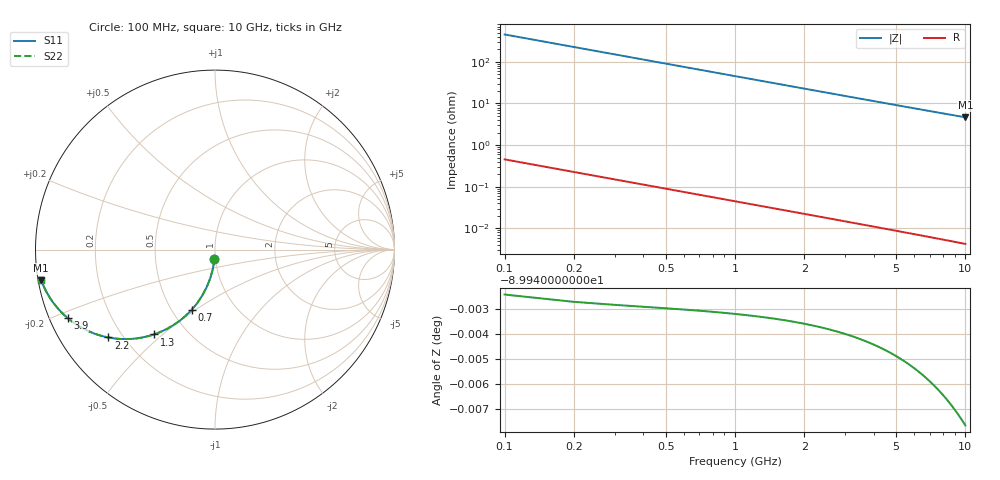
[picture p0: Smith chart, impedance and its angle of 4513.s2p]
# Hz S RI R 50.00
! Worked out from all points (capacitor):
!   100 points, 100 MHz to 10 GHz, reference 50 ohm
!   read as one part in shunt: C = 3.51 pF near 100 MHz
!   lowest |Z| = 4.65 ohm at 10 GHz (marker M1)
!   S11 on the Smith chart (normalised r, x): 100 MHz: 0.99, -0.11; 700 MHz: 0.63, -0.48; 1.3 GHz: 0.33, -0.47; 2.2 GHz: 0.15, -0.35; 3.9 GHz: 0.05, -0.22; 10 GHz: 0.01, -0.09
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1e8  -0.00307 -0.0549  0.9969 -0.055  0.9969 -0.055  -0.00307 -0.0549
2e8  -0.0121 -0.1089  0.9879 -0.109  0.9879 -0.109  -0.0121 -0.1089
3e8  -0.0268 -0.1608  0.9732 -0.1611  0.9732 -0.1611  -0.0268 -0.1608
4e8  -0.0466 -0.2101  0.9534 -0.2104  0.9534 -0.2104  -0.0466 -0.2101
5e8  -0.0708 -0.2559  0.9291 -0.2563  0.9291 -0.2563  -0.0708 -0.2559
6e8  -0.0989 -0.2978  0.9011 -0.2983  0.9011 -0.2983  -0.0989 -0.2978
7e8  -0.1299 -0.3354  0.8701 -0.336  0.8701 -0.336  -0.1299 -0.3354
8e8  -0.1631 -0.3686  0.8369 -0.3693  0.8369 -0.3693  -0.1631 -0.3686
1e9  -0.2332 -0.422  0.7667 -0.4228  0.7667 -0.4228  -0.2332 -0.422
1.3e9  -0.3393 -0.4724  0.6606 -0.4735  0.6606 -0.4735  -0.3393 -0.4724
1.5e9  -0.406 -0.4899  0.594 -0.4912  0.594 -0.4912  -0.406 -0.4899
1.8e9  -0.4958 -0.4987  0.5042 -0.5002  0.5042 -0.5002  -0.4958 -0.4987
2.2e9  -0.5947 -0.4895  0.4053 -0.4914  0.4053 -0.4914  -0.5947 -0.4895
2.5e9  -0.6544 -0.474  0.3456 -0.4761  0.3456 -0.4761  -0.6544 -0.474
2.8e9  -0.7035 -0.455  0.2964 -0.4574  0.2964 -0.4574  -0.7035 -0.455
3.4e9  -0.7775 -0.414  0.2225 -0.4169  0.2225 -0.4169  -0.7775 -0.414
3.9e9  -0.8212 -0.381  0.1788 -0.3843  0.1788 -0.3843  -0.8212 -0.381
4.5e9  -0.8593 -0.3453  0.1407 -0.3491  0.1407 -0.3491  -0.8593 -0.3453
5.1e9  -0.8868 -0.3141  0.1131 -0.3185  0.1131 -0.3185  -0.8868 -0.3141
6.7e9  -0.931 -0.25  0.0689 -0.2557  0.0689 -0.2557  -0.931 -0.25
8.4e9  -0.955 -0.2032  0.045 -0.2105  0.045 -0.2105  -0.955 -0.2032
1e10  -0.9678 -0.1715  0.0321 -0.1803  0.0321 -0.1803  -0.9678 -0.1715
